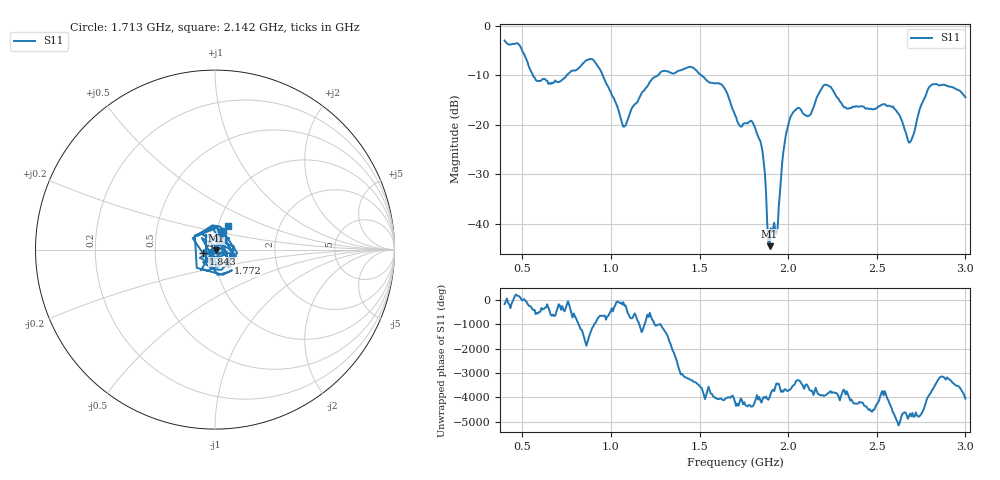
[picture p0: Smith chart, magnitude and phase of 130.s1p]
!Created with skrf (http://scikit-rf.org).
# Hz S RI R 50.0
!freq ReS11 ImS11
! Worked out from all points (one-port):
!   401 points, 400 MHz to 3 GHz, reference 50 ohm
!   lowest |S11| = -44.5 dB at 1.895 GHz (marker M1), VSWR 1.01, Z = 50.5 - j0.326 ohm
!   |S11| at or under -10 dB: 559.7 MHz to 749.8 MHz (190.1 MHz wide, 29 % of centre); 953.8 MHz to 1.265 GHz (311.1 MHz wide, 28 % of centre); 1.511 GHz to end of sweep
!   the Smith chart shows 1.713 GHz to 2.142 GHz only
!   S11 on the Smith chart (normalised r, x): 1.713 GHz: 1.06, +0.22; 1.772 GHz: 1.14, -0.17; 1.843 GHz: 0.88, -0.04; 2.142 GHz: 1.12, +0.29
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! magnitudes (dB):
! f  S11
! 400 MHz  -3.0
! 484.5 MHz  -3.9
! 582 MHz  -11.1
! 725 MHz  -10.9
! 894 MHz  -6.7
! 1.05 GHz  -18.0
! 1.083 GHz  -20.1
! 1.232 GHz  -10.7
! 1.375 GHz  -9.2
! 1.622 GHz  -11.8
! 1.7 GHz  -18.0
! 1.713 GHz  -19.3
! 1.772 GHz  -19.7
! 1.843 GHz  -23.3
! 1.863 GHz  -27.8
! 1.882 GHz  -40.0
! 1.895 GHz  -44.5
! 1.94 GHz  -40.9
! 1.98 GHz  -23.8
! 2.025 GHz  -17.6
! 2.142 GHz  -16.6
! 2.213 GHz  -11.9
! 2.35 GHz  -16.6
! 2.584 GHz  -16.4
! 2.675 GHz  -23.0
! 2.701 GHz  -22.5
! 2.805 GHz  -12.1
! 3 GHz  -14.4
